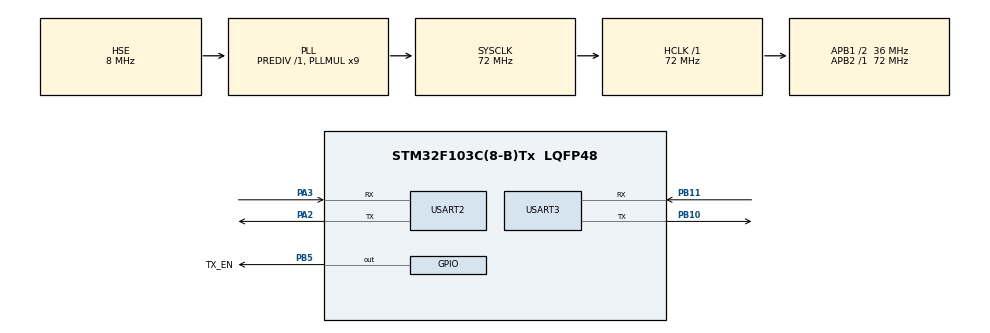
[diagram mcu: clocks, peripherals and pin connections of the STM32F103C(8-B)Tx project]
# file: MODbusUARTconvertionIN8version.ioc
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Mcu.Family=STM32F1
Mcu.Name=STM32F103C(8-B)Tx
Mcu.Package=LQFP48
NVIC.PriorityGroup=NVIC_PRIORITYGROUP_4
NVIC.USART3_IRQn=true\:0\:0\:false\:false\:true\:true\:true
PA13.Mode=Serial_Wire
PA13.Signal=SYS_JTMS-SWDIO
PA14.Mode=Serial_Wire
PA14.Signal=SYS_JTCK-SWCLK
PA2.Mode=Asynchronous
PA2.Signal=USART2_TX
PA3.Mode=Asynchronous
PA3.Signal=USART2_RX
PB10.Mode=Asynchronous
PB10.Signal=USART3_TX
PB11.Mode=Asynchronous
PB11.Signal=USART3_RX
PB5.GPIO_Label=TX_EN
PB5.Signal=GPIO_Output
PC14-OSC32_IN.Mode=LSE-External-Oscillator
PC14-OSC32_IN.Signal=RCC_OSC32_IN
PC15-OSC32_OUT.Mode=LSE-External-Oscillator
PC15-OSC32_OUT.Signal=RCC_OSC32_OUT
PD0-OSC_IN.Mode=HSE-External-Oscillator
PD0-OSC_IN.Signal=RCC_OSC_IN
PD1-OSC_OUT.Mode=HSE-External-Oscillator
PD1-OSC_OUT.Signal=RCC_OSC_OUT
ProjectManager.HeapSize=0x200
ProjectManager.StackSize=0x400
ProjectManager.TargetToolchain=STM32CubeIDE
RCC.AHBFreq_Value=72000000
RCC.APB1CLKDivider=RCC_HCLK_DIV2
RCC.APB1Freq_Value=36000000
RCC.APB1TimFreq_Value=72000000
RCC.APB2Freq_Value=72000000
RCC.APB2TimFreq_Value=72000000
RCC.HCLKFreq_Value=72000000
RCC.PLLMUL=RCC_PLL_MUL9
RCC.PLLSourceVirtual=RCC_PLLSOURCE_HSE
RCC.SYSCLKFreq_VALUE=72000000
RCC.SYSCLKSource=RCC_SYSCLKSOURCE_PLLCLK
RCC.USBFreq_Value=72000000
USART2.VirtualMode=VM_ASYNC
USART3.VirtualMode=VM_ASYNC
board=custom

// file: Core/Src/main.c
/* USER CODE BEGIN Header */
/**
  ******************************************************************************
  * @file           : main.c
  * @brief          : Main program body
  ******************************************************************************
  * @attention
  *
  * Copyright (c) 2025 STMicroelectronics.
  * All rights reserved.
  *
  * This software is licensed under terms that can be found in the LICENSE file
  * in the root directory of this software component.
  * If no LICENSE file comes with this software, it is provided AS-IS.
  *
  ******************************************************************************
  */
/* USER CODE END Header */
#include "main.h"

/* USER CODE BEGIN Includes */
#include "modbus_crc.h"
#include "string.h"
#include "stdio.h"
/* USER CODE END Includes */

/* USER CODE BEGIN PTD */
uint8_t txdata[8];
uint8_t rxdata[32];
uint16_t regValues[10];
uint8_t parity_err=0;
int PEcount,NEcount=0;
#define PUTCHAR_PROTOTYPE int __io_putchar(int ch)

/* USER CODE END PTD */

UART_HandleTypeDef huart2;
UART_HandleTypeDef huart3;

void SystemClock_Config(void);
static void MX_GPIO_Init(void);
static void MX_USART2_UART_Init(void);
static void MX_USART3_UART_Init(void);
/* USER CODE BEGIN PFP */
void UPDATEUSART3(void);
void recvString()
{
	HAL_GPIO_WritePin(TX_EN_GPIO_Port,TX_EN_Pin , GPIO_PIN_RESET); // only accept the string
}

void send_rs485() //uart 1
{
	HAL_GPIO_WritePin(TX_EN_GPIO_Port, TX_EN_Pin , GPIO_PIN_SET); //send the accepted string
}

void sendQuery (uint8_t *data_,uint16_t len) //com5 only  to write
{
	HAL_GPIO_WritePin(TX_EN_GPIO_Port, TX_EN_Pin, GPIO_PIN_SET);//sending mode
	HAL_UART_Transmit(&huart3, data_, len, 1000);
	HAL_GPIO_WritePin(TX_EN_GPIO_Port,TX_EN_Pin , GPIO_PIN_RESET); //receiving mode
}

void sendData (uint8_t *data_,uint16_t len) //com5 only  to write
{
	HAL_GPIO_WritePin(TX_EN_GPIO_Port, TX_EN_Pin, GPIO_PIN_SET);//sending mode
	HAL_UART_Transmit(&huart3, data_, len, 1000);
	HAL_GPIO_WritePin(TX_EN_GPIO_Port,TX_EN_Pin , GPIO_PIN_RESET); //receiving mode
}

void modbus_write_multiple_coils(uint8_t *coilStates, uint16_t coilCount, uint8_t slaveAddr, uint16_t startAddr) {
    uint8_t TxData[260];
    uint8_t idx = 0;
    uint8_t byteCount = (coilCount + 7) / 8;

    TxData[idx++] = slaveAddr;
    TxData[idx++] = 0x0F;  // Function code
    TxData[idx++] = (startAddr >> 8);
    TxData[idx++] = (startAddr & 0xFF);
    TxData[idx++] = (coilCount >> 8);
    TxData[idx++] = (coilCount & 0xFF);
    TxData[idx++] = byteCount;

    memcpy(&TxData[idx], coilStates, byteCount);
    idx += byteCount;

    uint16_t crc = crc16(TxData, idx);
    TxData[idx++] = crc & 0xFF;
    TxData[idx++] = (crc >> 8);

    sendData(TxData, idx);

}
/* USER CODE END PFP */

/* USER CODE BEGIN 0 */
void functionREADcoils(uint8_t slaveID, uint16_t startREGadd, uint16_t datatoREAD)
  {
txdata[0]=slaveID;
txdata[1]=0x01;
txdata[2]=(startREGadd >> 8);
txdata[3]=(startREGadd & 0xFF);
txdata[4]=(datatoREAD >> 8);
txdata[5]=(datatoREAD & 0xFF);
uint16_t crc=crc16(txdata,6);
txdata[6]=crc & 0xFF;
txdata[7]=(crc>>8)&0xFF;
sendQuery(txdata,sizeof(txdata));
  }
void functionREADinputstatus_register(uint8_t slaveID, uint16_t startREGadd, uint16_t datatoREAD)
  {
txdata[0]=slaveID;
txdata[1]=0x02;
txdata[2]=(startREGadd >> 8);
txdata[3]=(startREGadd & 0xFF);
txdata[4]=(datatoREAD >> 8);
txdata[5]=(datatoREAD & 0xFF);
uint16_t crc=crc16(txdata,6);
txdata[6]=crc & 0xFF;
txdata[7]=(crc>>8)&0xFF;
sendQuery(txdata,sizeof(txdata));
  }
void functionREADholding_register(uint8_t slaveID, uint16_t startREGadd, uint16_t datatoREAD)
  {
txdata[0]=slaveID;
txdata[1]=0x03;
txdata[2]=(startREGadd >> 8);
txdata[3]=(startREGadd & 0xFF);
txdata[4]=(datatoREAD >> 8);
txdata[5]=(datatoREAD & 0xFF);
uint16_t crc=crc16(txdata,6);
txdata[6]=crc & 0xFF;
txdata[7]=(crc>>8)&0xFF;
sendQuery(txdata,sizeof(txdata));
  }
void functionREADinput_register(uint8_t slaveID, uint16_t startREGadd, uint16_t datatoREAD)
  {
txdata[0]=slaveID;
txdata[1]=0x04;
txdata[2]=(startREGadd >> 8);
txdata[3]=(startREGadd & 0xFF);
txdata[4]=(datatoREAD >> 8);
txdata[5]=(datatoREAD & 0xFF);
uint16_t crc=crc16(txdata,6);
txdata[6]=crc & 0xFF;
txdata[7]=(crc>>8)&0xFF;
sendQuery(txdata,sizeof(txdata));
  }

void functionWRITEholding_register(uint8_t slaveID, uint16_t startREGadd, uint16_t datatoWRITE, uint16_t* values)
{
    // The request frame length is: ID(1) + FC(1) + Addr(2) + Quantity(2) + ByteCount(1) + Data(N*2) + CRC(2)
    uint16_t request_len = 9 + (datatoWRITE * 2);
    uint8_t writeTxData[request_len];
    uint8_t current_len = 0;

    // 1. Header (7 bytes: ID, FC, Addr, Quantity, Byte Count)
    writeTxData[current_len++] = slaveID; // Slave Address
    writeTxData[current_len++] = 0x10;    // Function Code: 16 (Write Multiple Registers)
    writeTxData[current_len++] = (startREGadd >> 8);
    writeTxData[current_len++] = (startREGadd & 0xFF);
    writeTxData[current_len++] = (datatoWRITE >> 8); // Quantity High
    writeTxData[current_len++] = (datatoWRITE & 0xFF); // Quantity Low

    uint8_t byte_count = datatoWRITE * 2;
    writeTxData[current_len++] = byte_count; // Byte Count

    // 2. Data Payload (N * 2 bytes)
    for (int i = 0; i < datatoWRITE; i++)
    {
        // Place the 16-bit value from 'values' into the buffer (Big-Endian)
        writeTxData[current_len++] = (values[i] >> 8);  // High Byte
        writeTxData[current_len++] = (values[i] & 0xFF); // Low Byte
    }

    // 3. CRC Checksum (2 bytes)
    uint16_t crc = crc16(writeTxData, current_len);
    writeTxData[current_len++] = crc & 0xFF;        // CRC Low
    writeTxData[current_len++] = (crc >> 8) & 0xFF; // CRC High

    printf("Modbus Write Request (FC 16, %d bytes): ", current_len);

        // Loop through the buffer up to the final calculated length (including CRC)
        for (int i = 0; i < current_len; i++)
        {
            // %02X ensures two hexadecimal characters are printed (e.g., 5B instead of B)
            printf("%02X ", writeTxData[i]);
        }
        printf("\r\n");
    // Transmit the command using the generic send function
    sendData(writeTxData, current_len);
}
/* USER CODE END 0 */

int main(void)
{

  /* MCU Configuration--------------------------------------------------------*/

  /* Reset of all peripherals, Initializes the Flash interface and the Systick. */
  HAL_Init();

  /* Configure the system clock */
  SystemClock_Config();

  /* Initialize all configured peripherals */
  MX_GPIO_Init();
  MX_USART2_UART_Init();
  MX_USART3_UART_Init();
  /* USER CODE BEGIN 2 */
  UPDATEUSART3();
  printf("TESTING>>>>>>>>>>>>>>>>>>>>>>>>>>>>>>");
  HAL_UARTEx_ReceiveToIdle_IT(&huart3, rxdata, 32);
  /* USER CODE END 2 */

  /* Infinite loop */
  while (1)
  {

    /* USER CODE BEGIN 3 */
	  functionREADholding_register(0x01,0x00,5);
	  HAL_Delay(1000);
  }
  /* USER CODE END 3 */
}

void SystemClock_Config(void)
{
  RCC_OscInitTypeDef RCC_OscInitStruct = {0};
  RCC_ClkInitTypeDef RCC_ClkInitStruct = {0};

  /** Initializes the RCC Oscillators according to the specified parameters
  * in the RCC_OscInitTypeDef structure.
  */
  RCC_OscInitStruct.OscillatorType = RCC_OSCILLATORTYPE_HSE;
  RCC_OscInitStruct.HSEState = RCC_HSE_ON;
  RCC_OscInitStruct.HSEPredivValue = RCC_HSE_PREDIV_DIV1;
  RCC_OscInitStruct.HSIState = RCC_HSI_ON;
  RCC_OscInitStruct.PLL.PLLState = RCC_PLL_ON;
  RCC_OscInitStruct.PLL.PLLSource = RCC_PLLSOURCE_HSE;
  RCC_OscInitStruct.PLL.PLLMUL = RCC_PLL_MUL9;
  if (HAL_RCC_OscConfig(&RCC_OscInitStruct) != HAL_OK)
  {
    Error_Handler();
  }
  /** Initializes the CPU, AHB and APB buses clocks
  */
  RCC_ClkInitStruct.ClockType = RCC_CLOCKTYPE_HCLK|RCC_CLOCKTYPE_SYSCLK
                              |RCC_CLOCKTYPE_PCLK1|RCC_CLOCKTYPE_PCLK2;
  RCC_ClkInitStruct.SYSCLKSource = RCC_SYSCLKSOURCE_PLLCLK;
  RCC_ClkInitStruct.AHBCLKDivider = RCC_SYSCLK_DIV1;
  RCC_ClkInitStruct.APB1CLKDivider = RCC_HCLK_DIV2;
  RCC_ClkInitStruct.APB2CLKDivider = RCC_HCLK_DIV1;

  if (HAL_RCC_ClockConfig(&RCC_ClkInitStruct, FLASH_LATENCY_2) != HAL_OK)
  {
    Error_Handler();
  }
}

static void MX_USART2_UART_Init(void)
{

  huart2.Instance = USART2;
  huart2.Init.BaudRate = 115200;
  huart2.Init.WordLength = UART_WORDLENGTH_8B;
  huart2.Init.StopBits = UART_STOPBITS_1;
  huart2.Init.Parity = UART_PARITY_NONE;
  huart2.Init.Mode = UART_MODE_TX_RX;
  huart2.Init.HwFlowCtl = UART_HWCONTROL_NONE;
  huart2.Init.OverSampling = UART_OVERSAMPLING_16;
  if (HAL_UART_Init(&huart2) != HAL_OK)
  {
    Error_Handler();
  }

}

static void MX_USART3_UART_Init(void)
{

  huart3.Instance = USART3;
  huart3.Init.BaudRate = 115200;
  huart3.Init.WordLength = UART_WORDLENGTH_8B;
  huart3.Init.StopBits = UART_STOPBITS_1;
  huart3.Init.Parity = UART_PARITY_NONE;
  huart3.Init.Mode = UART_MODE_TX_RX;
  huart3.Init.HwFlowCtl = UART_HWCONTROL_NONE;
  huart3.Init.OverSampling = UART_OVERSAMPLING_16;
  if (HAL_UART_Init(&huart3) != HAL_OK)
  {
    Error_Handler();
  }

}

static void MX_GPIO_Init(void)
{
  GPIO_InitTypeDef GPIO_InitStruct = {0};

  /* GPIO Ports Clock Enable */
  __HAL_RCC_GPIOC_CLK_ENABLE();
  __HAL_RCC_GPIOD_CLK_ENABLE();
  __HAL_RCC_GPIOA_CLK_ENABLE();
  __HAL_RCC_GPIOB_CLK_ENABLE();

  /*Configure GPIO pin Output Level */
  HAL_GPIO_WritePin(TX_EN_GPIO_Port, TX_EN_Pin, GPIO_PIN_RESET);

  /*Configure GPIO pin : TX_EN_Pin */
  GPIO_InitStruct.Pin = TX_EN_Pin;
  GPIO_InitStruct.Mode = GPIO_MODE_OUTPUT_PP;
  GPIO_InitStruct.Pull = GPIO_NOPULL;
  GPIO_InitStruct.Speed = GPIO_SPEED_FREQ_LOW;
  HAL_GPIO_Init(TX_EN_GPIO_Port, &GPIO_InitStruct);

}

/* USER CODE BEGIN 4 */
void HAL_UARTEx_RxEventCallback(UART_HandleTypeDef *huart, uint16_t Size)
{
//	HAL_UARTEx_ReceiveToIdle_IT(&huart1, rxdata, 32);
	if (huart->Instance == huart3.Instance)
	    {
	        // 'Size' is the exact number of data bytes received.
	        printf("UART Received (%d bytes): ", Size);
	        // Use a printing function that iterates exactly up to 'Size'
	        for (int i = 0; i < Size; i++)
	            printf("%02X ", rxdata[i]);
	        printf("\r\n");
	        HAL_UARTEx_ReceiveToIdle_IT(&huart3, rxdata, sizeof(rxdata));

	        // --- MODBUS RESPONSE PROCESSING AND WRITE LOGIC ---

	                // Check if the response is from Slave 01 and is a Read Holding Register response (FC 03)
			if (rxdata[0] == 0x01 && rxdata[1] == 0x03)
			{
				uint8_t byte_count = rxdata[2];
				uint8_t num_regs = byte_count / 2; // Quantity of 16-bit registers

				// Limit extraction to the buffer size
				if (num_regs > 10) num_regs = 10;

				// Extract the data starting at rxdata[3] (first data byte)
				for (int i = 0; i < num_regs; i++) {
					// (High Byte << 8) | Low Byte (Modbus data is Big-Endian)
					regValues[i] = (rxdata[3 + 2*i] << 8) | rxdata[4 + 2*i];
				}

				printf("Extracted %d registers. Writing to new destination...\r\n", num_regs);

				// *** CALL THE WRITE FUNCTION HERE ***
				// Example: Write the received data to Slave ID 2, starting at address 200
				functionWRITEholding_register(
					0x02,             // Target Slave ID (e.g., 2)
					0x0001,           // Target Start Address (e.g., 200 decimal = 0x00C8)
					num_regs,         // Quantity of registers to write
					regValues         // Pointer to the data array
				);
			}
			else if(rxdata[0] == 0x01 && rxdata[1] == 0x01)
			{
				uint8_t byte_count = rxdata[2];
				uint8_t *coil_data_start = &rxdata[3];
				modbus_write_multiple_coils(coil_data_start,5,0x02,0);
			}

	    }
}
//void print_hex(uint8_t *buf, uint16_t len)
//{
//    // Ensure this function uses huart2/printf to output the hex string
//    for (int i = 0; i < len; i++)
//        printf("%02X ", buf[i]);
//    printf("\r\n");
//}
void UPDATEUSART3(void)
{
	   // De-initialize first
	    if (HAL_UART_DeInit(&huart3) != HAL_OK) {
	        Error_Handler();
	    }
    // 1. Convert Baud string to a number
    // strtoul converts "115200" to 115200
    huart3.Init.BaudRate = 9600;

//    // 2. Map Parity string to HAL Constants
//    if (strcmp(parity, "EVEN") == 0)
//    {
//        huart3.Init.Parity = UART_PARITY_EVEN;
//        huart3.Init.WordLength = UART_WORDLENGTH_9B;
//    }
//    else if (strcmp(parity, "ODD") == 0)
//    {
//        huart3.Init.Parity = UART_PARITY_ODD;
//        huart3.Init.WordLength = UART_WORDLENGTH_9B;
//    }
//    else
//    {
//        huart3.Init.Parity = UART_PARITY_NONE;
//        huart3.Init.WordLength = UART_WORDLENGTH_8B;
//    }
//
//    // 3. Map Stopbit string to HAL Constants
//    if (strcmp(stopbit, "2") == 0)
//    {
//        huart3.Init.StopBits = UART_STOPBITS_2;
//    }
//    else
//    {
//        huart3.Init.StopBits = UART_STOPBITS_1;
//    }
//    if (strcmp(parity, "EVEN") == 0)
//    {
//    	huart3.Init.Parity = UART_PARITY_EVEN;
//    	huart3.Init.WordLength = UART_WORDLENGTH_9B;
//    }
//    else if(strcmp(parity, "ODD") == 0)
//    {
//    	huart3.Init.Parity = UART_PARITY_ODD;
//    	huart3.Init.WordLength = UART_WORDLENGTH_9B;
//    }
//    else
//        {
//            huart3.Init.Parity = UART_PARITY_NONE;
//            huart3.Init.WordLength = UART_WORDLENGTH_8B;
//        }
    huart3.Init.Parity = UART_PARITY_ODD;
	huart3.Init.WordLength = UART_WORDLENGTH_9B;
    if (HAL_UART_Init(&huart3) != HAL_OK)
    	   {
    		  Error_Handler();
    	   }
    if(HAL_UARTEx_ReceiveToIdle_IT(&huart3, rxdata, sizeof(rxdata))!=HAL_OK)
    {
    	Error_Handler();
    }
}
//void HAL_UART_ErrorCallback(UART_HandleTypeDef *huart)
//{
//    if (huart->ErrorCode & HAL_UART_ERROR_PE)
//    {
//        parity_err = 1;
//    }
//    else if (huart->ErrorCode & HAL_UART_ERROR_NONE)
//        {
//            parity_err = 2;
//        }
//}

void HAL_UART_ErrorCallback(UART_HandleTypeDef *huart)
{
    // 1. Check for Parity Error specifically
    if (huart->ErrorCode & HAL_UART_ERROR_PE)
    {
        parity_err = 1; // Mark that we had a parity issue
        PEcount++;
        __HAL_UART_CLEAR_PEFLAG(huart);
//        NEcount=0;
    }
    else if(huart->ErrorCode & (HAL_UART_ERROR_NE | HAL_UART_ERROR_NONE|HAL_UART_ERROR_FE|HAL_UART_ERROR_ORE))
    {
    	__HAL_UART_CLEAR_PEFLAG(huart);
    	parity_err=0;
    }

    // 2. Handle other common errors (Overrun, Frame, etc.)
//    else if (huart->ErrorCode & HAL_UART_ERROR_NONE)
//    {
//        // These are timing or hardware connection issues
//        parity_err = 0;
//    	PEcount=0;
//    	NEcount++;
//    }

}

PUTCHAR_PROTOTYPE
{
  /* Place your implementation of fputc here */
  /* e.g. write a character to the USART1 and Loop until the end of transmission */
  HAL_UART_Transmit(&huart2, (uint8_t *)&ch, 1, 0xFFFF);

  return ch;
}
/* USER CODE END 4 */

void Error_Handler(void)
{
  __disable_irq();
  while (1)
  {
  }
}
